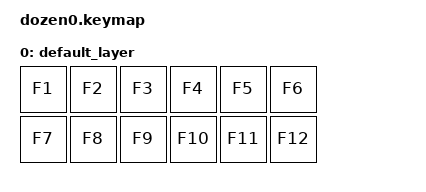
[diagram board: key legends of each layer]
#include <behaviors.dtsi>
#include <dt-bindings/zmk/keys.h>

/ {
    combos {
        compatible = "zmk,combos";
        combo_del {
            timeout-ms = <50>;
            key-positions = <0 1>;
            bindings = <&kp LGUI>;
            layers = <0>;
        };
    };

	keymap {
		compatible = "zmk,keymap";

		default_layer {
			bindings = <
				&kp F1 &kp F2 &kp F3 &kp F4 &kp F5 &kp F6
				&kp F7 &kp F8 &kp F9 &kp F10 &kp F11 &kp F12
			>;
		};
	};
};
